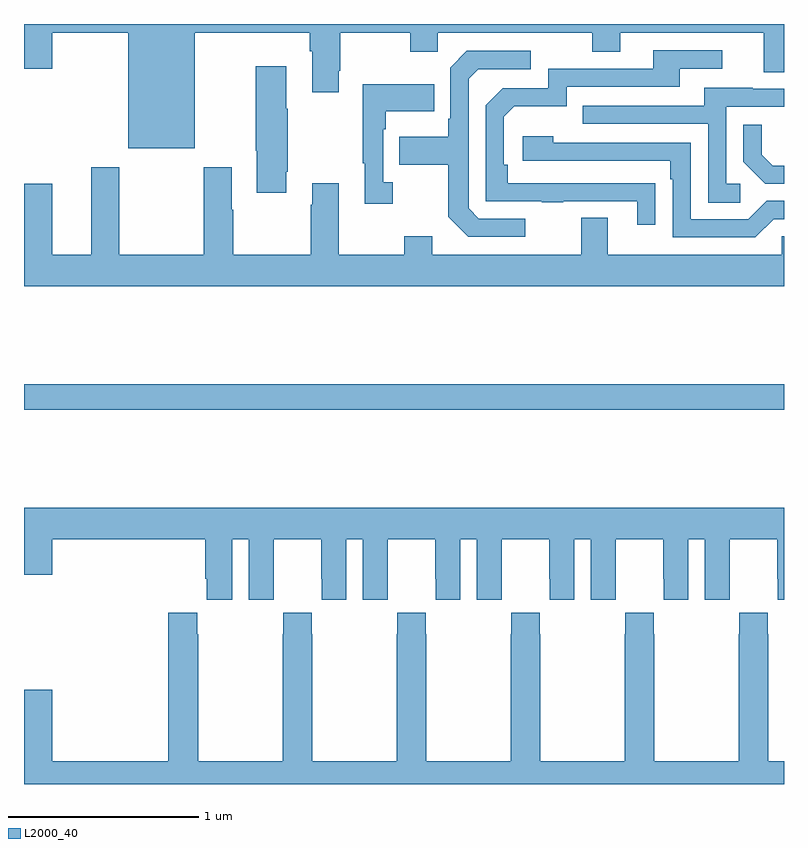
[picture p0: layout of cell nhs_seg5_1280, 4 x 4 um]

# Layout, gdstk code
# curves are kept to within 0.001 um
import gdstk
lib = gdstk.Library(unit=1e-6, precision=1e-09)
def R(c, l, rs):  # rectangles x0, y0, x1, y1
    for r in rs: c.add(gdstk.rectangle(r[:2], r[2:], *l))
def P(c, l, *ps):  # polygons
    for p in ps: c.add(gdstk.Polygon(p, *l))
L2000_40 = (2000, 40)

nhs_seg5_1280 = lib.new_cell('nhs_seg5_1280')
R(nhs_seg5_1280, L2000_40, [(189,862.768,193,862.904)])
P(nhs_seg5_1280, L2000_40, [(189.898,864.752),(190.505,864.752),(190.505,864.656),(190.517,864.656),(190.517,864.441),(190.657,864.441),(190.657,864.553),(190.665,864.553),(190.665,864.752),(191.032,864.752),(191.032,864.653),(191.178,864.653),(191.178,864.752),(191.992,864.752),(191.992,864.653),(192.139,864.653),(192.139,864.752),(192.893,864.752),(192.893,864.544),(193,864.544),(193,864.799),(189,864.799),(189,864.564),(189.148,864.564),(189.148,864.752),(189.548,864.752),(189.548,864.146),(189.898,864.146)],
  [(192.323,863.96),(191.546,863.961),(191.546,864.058),(191.526,864.058),(191.526,864.312),(191.579,864.365),(191.856,864.365),(191.856,864.468),(192.451,864.468),(192.451,864.564),(192.676,864.564),(192.676,864.66),(192.311,864.66),(192.311,864.564),(191.76,864.564),(191.76,864.462),(191.52,864.462),(191.43,864.372),(191.43,863.865),(191.725,863.865),(191.725,863.86),(191.837,863.86),(191.837,863.865),(192.227,863.865),(192.227,863.742),(192.323,863.742)],
  [(191.638,863.775),(191.394,863.775),(191.34,863.829),(191.34,864.51),(191.391,864.561),(191.668,864.561),(191.668,864.657),(191.331,864.657),(191.244,864.57),(191.244,864.301),(191.232,864.301),(191.232,864.205),(190.975,864.205),(190.975,864.058),(191.232,864.058),(191.232,863.785),(191.337,863.679),(191.638,863.679)],
  [(190.381,864.022),(190.389,864.022),(190.389,864.353),(190.381,864.353),(190.381,864.577),(190.219,864.577),(190.219,864.133),(190.226,864.133),(190.226,863.91),(190.381,863.91)],
  [(190.942,863.966),(190.89,863.966),(190.89,864.245),(190.903,864.245),(190.903,864.341),(191.159,864.341),(191.159,864.481),(190.782,864.481),(190.782,864.065),(190.793,864.065),(190.793,863.853),(190.942,863.853)],
  [(192.769,863.958),(192.696,863.958),(192.696,864.363),(193,864.363),(193,864.459),(192.835,864.459),(192.835,864.463),(192.581,864.463),(192.581,864.369),(191.941,864.369),(191.941,864.273),(192.6,864.273),(192.6,863.857),(192.769,863.857)],
  [(193,864.054),(192.94,864.054),(192.883,864.111),(192.883,864.268),(192.786,864.268),(192.786,864.074),(192.902,863.958),(193,863.958)],
  [(192.945,863.772),(193,863.772),(193,863.868),(192.909,863.868),(192.813,863.772),(192.51,863.772),(192.51,864.174),(191.786,864.174),(191.786,864.208),(191.625,864.208),(191.625,864.078),(192.401,864.078),(192.401,863.981),(192.414,863.981),(192.414,863.676),(192.849,863.676)],
  [(193,863.682),(192.987,863.682),(192.987,863.584),(192.073,863.584),(192.073,863.779),(191.933,863.779),(191.933,863.584),(191.149,863.584),(191.149,863.683),(191.002,863.683),(191.002,863.584),(190.657,863.584),(190.657,863.962),(190.517,863.962),(190.517,863.849),(190.51,863.849),(190.51,863.584),(190.101,863.584),(190.101,863.822),(190.093,863.822),(190.093,864.046),(189.946,864.046),(189.946,863.584),(189.501,863.584),(189.501,864.046),(189.353,864.046),(189.353,863.584),(189.148,863.584),(189.148,863.959),(189,863.959),(189,863.42),(193,863.42)],
  [(190.096,862.088),(190.184,862.088),(190.184,861.768),(190.314,861.768),(190.314,861.88),(190.315,861.88),(190.315,862.088),(190.565,862.088),(190.565,861.88),(190.566,861.88),(190.566,861.768),(190.696,861.768),(190.696,862.088),(190.784,862.088),(190.784,861.768),(190.914,861.768),(190.914,861.88),(190.915,861.88),(190.915,862.088),(191.165,862.088),(191.165,861.88),(191.166,861.88),(191.166,861.768),(191.296,861.768),(191.296,862.088),(191.384,862.088),(191.384,861.768),(191.514,861.768),(191.514,861.88),(191.515,861.88),(191.515,862.088),(191.765,862.088),(191.765,861.88),(191.766,861.88),(191.766,861.768),(191.896,861.768),(191.896,862.088),(191.984,862.088),(191.984,861.768),(192.114,861.768),(192.114,861.88),(192.115,861.88),(192.115,862.088),(192.365,862.088),(192.365,861.88),(192.366,861.88),(192.366,861.768),(192.496,861.768),(192.496,862.088),(192.584,862.088),(192.584,861.768),(192.714,861.768),(192.714,861.88),(192.715,861.88),(192.715,862.088),(192.965,862.088),(192.965,861.88),(192.966,861.88),(192.966,861.768),(193,861.768),(193,862.252),(189,862.252),(189,861.9),(189.148,861.9),(189.148,862.088),(189.953,862.088),(189.953,861.88),(189.962,861.88),(189.962,861.768),(190.096,861.768)],
  [(193,860.92),(192.918,860.92),(192.918,861.587),(192.915,861.587),(192.915,861.7),(192.765,861.7),(192.765,861.587),(192.763,861.587),(192.763,860.92),(192.318,860.92),(192.318,861.587),(192.315,861.587),(192.315,861.7),(192.165,861.7),(192.165,861.587),(192.163,861.587),(192.163,860.92),(191.718,860.92),(191.718,861.587),(191.715,861.587),(191.715,861.7),(191.565,861.7),(191.565,861.587),(191.563,861.587),(191.563,860.92),(191.118,860.92),(191.118,861.587),(191.115,861.587),(191.115,861.7),(190.965,861.7),(190.965,861.587),(190.963,861.587),(190.963,860.92),(190.518,860.92),(190.518,861.587),(190.515,861.587),(190.515,861.7),(190.365,861.7),(190.365,861.587),(190.363,861.587),(190.363,860.92),(189.918,860.92),(189.918,861.587),(189.911,861.587),(189.911,861.7),(189.758,861.7),(189.758,860.92),(189.148,860.92),(189.148,861.295),(189,861.295),(189,860.799),(193,860.799)])

lib.write_gds('nhs_seg5_1280.gds')
